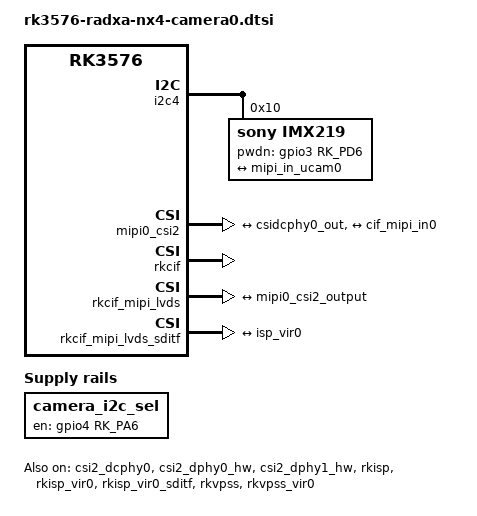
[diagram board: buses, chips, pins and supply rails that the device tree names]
// SPDX-License-Identifier: (GPL-2.0+ OR MIT)
/*
 * Copyright (c) 2024 Rockchip Electronics Co., Ltd.
 *
 */

/ {
	camera_i2c_sel: camera-i2c-sel {
		compatible = "regulator-fixed";
		regulator-name = "camera_i2c_sel";
		regulator-always-on;
		regulator-boot-on;
		enable-active-high;
		gpio = <&gpio4 RK_PA6 GPIO_ACTIVE_HIGH>;
		pinctrl-names = "camera_i2c_sel";
		pinctrl-0 = <&cam_i2c_sel_gpio>;
	};
};

&csi2_dcphy0 {
	status = "okay";

	ports {
		#address-cells = <1>;
		#size-cells = <0>;
		port@0 {
			reg = <0>;
			#address-cells = <1>;
			#size-cells = <0>;

			mipi_in_ucam0: endpoint@1 {
				reg = <1>;
				remote-endpoint = <&imx219_0_out0>;
				data-lanes = <1 2>;
			};
		};
		port@1 {
			reg = <1>;
			#address-cells = <1>;
			#size-cells = <0>;

			csidcphy0_out: endpoint@0 {
				reg = <0>;
				remote-endpoint = <&mipi0_csi2_input>;
			};
		};
	};
};

&csi2_dphy0_hw {
	status = "okay";
};

&csi2_dphy1_hw {
	status = "okay";
};

&i2c4 {
	status = "okay";
	pinctrl-names = "default";
	pinctrl-0 = <&i2c4m2_xfer>;

	imx219: imx219@10 {
		compatible = "sony,imx219";
		reg = <0x10>;

		clocks = <&cru CLK_MIPI_CAMERAOUT_M2>;
		clock-names = "xvclk";
		pinctrl-names = "default";
		pinctrl-0 = <&cam_clk1m0_clk1>;
		power-domains = <&power RK3576_PD_VI>;
		pwdn-gpios = <&gpio3 RK_PD6 GPIO_ACTIVE_HIGH>;
		
		rockchip,camera-module-index = <1>;
		rockchip,camera-module-facing = "front";
		rockchip,camera-module-name = "rpi-camera-v2";
		rockchip,camera-module-lens-name = "default";

		port {
			imx219_0_out0: endpoint {
				remote-endpoint = <&mipi_in_ucam0>;
				data-lanes = <1 2>;
			};
		};
	};
};

&mipi0_csi2 {
	status = "okay";

	ports {
		#address-cells = <1>;
		#size-cells = <0>;

		port@0 {
			reg = <0>;
			#address-cells = <1>;
			#size-cells = <0>;

			mipi0_csi2_input: endpoint@1 {
				reg = <1>;
				remote-endpoint = <&csidcphy0_out>;
			};
		};

		port@1 {
			reg = <1>;
			#address-cells = <1>;
			#size-cells = <0>;

			mipi0_csi2_output: endpoint@0 {
				reg = <0>;
				remote-endpoint = <&cif_mipi_in0>;
			};
		};
	};
};

&rkcif {
	status = "okay";
};

&rkcif_mmu {
        status = "okay";
};

&rkcif_mipi_lvds {
	status = "okay";

	port {
		cif_mipi_in0: endpoint {
			remote-endpoint = <&mipi0_csi2_output>;
		};
	};
};

&rkcif_mipi_lvds_sditf {
	status = "okay";

	port {
		mipi_lvds_sditf: endpoint {
			remote-endpoint = <&isp_vir0>;
		};
	};
};

&rkisp {
	status = "okay";
};

&rkisp_mmu {
	status = "okay";
};

&rkisp_vir0 {
	status = "okay";

	port {
		#address-cells = <1>;
		#size-cells = <0>;

		isp_vir0: endpoint@0 {
			reg = <0>;
			remote-endpoint = <&mipi_lvds_sditf>;
		};
	};
};

&rkisp_vir0_sditf {
        status = "okay";
};

&rkvpss {
        status = "okay";
};

&rkvpss_mmu {
        status = "okay";
};

&rkvpss_vir0 {
        status = "okay";
};

&pinctrl {
	camera {
		//camera0 --> camera1
		cam_i2c_sel_gpio: cam-i2c-sel-gpio {
			rockchip,pins = <4 RK_PA6 RK_FUNC_GPIO &pcfg_pull_up>;
		};
	};
};
